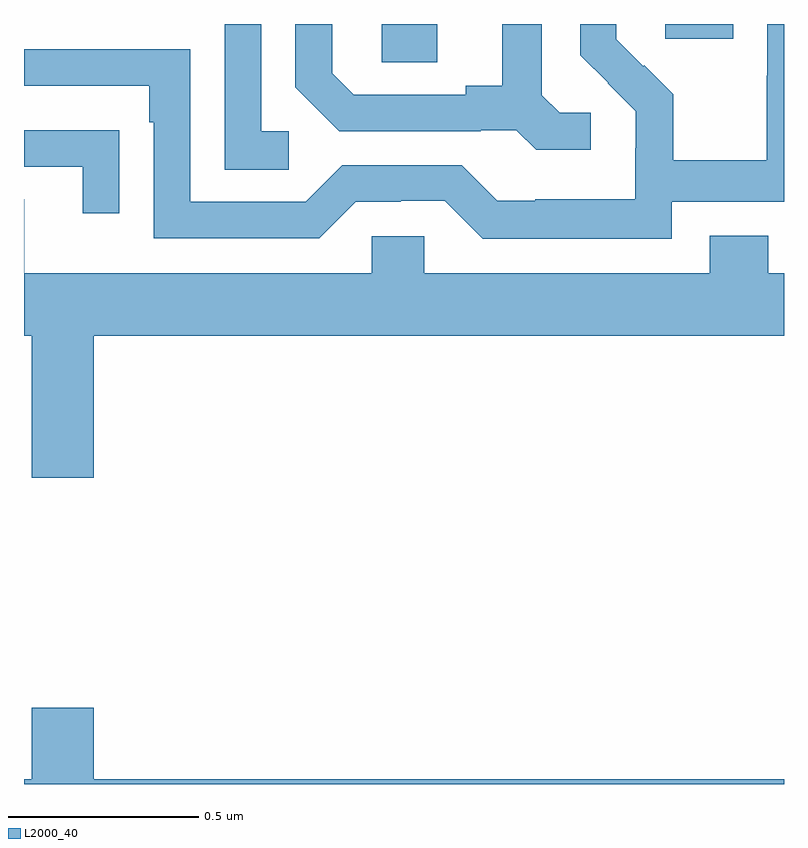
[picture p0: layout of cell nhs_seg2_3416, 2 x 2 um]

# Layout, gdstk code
import gdstk
lib = gdstk.Library(unit=1e-6, precision=1e-09)
def R(c, l, rs):  # rectangles x0, y0, x1, y1
    for r in rs: c.add(gdstk.rectangle(r[:2], r[2:], *l))
def P(c, l, *ps):  # polygons
    for p in ps: c.add(gdstk.Polygon(p, *l))
L2000_40 = (2000, 40)

nhs_seg2_3416 = lib.new_cell('nhs_seg2_3416')
R(nhs_seg2_3416, L2000_40, [(153.942,637.699,154.087,637.8), (154.688,637.761,154.867,637.8)])
P(nhs_seg2_3416, L2000_40, [(154.704,637.332),(155,637.332),(155,637.8),(154.956,637.8),(154.956,637.664),(154.954,637.664),(154.954,637.441),(154.709,637.441),(154.709,637.615),(154.632,637.692),(154.629,637.689),(154.559,637.76),(154.559,637.8),(154.464,637.8),(154.464,637.718),(154.537,637.645),(154.536,637.644),(154.61,637.57),(154.61,637.473),(154.608,637.473),(154.608,637.339),(154.345,637.339),(154.345,637.335),(154.245,637.335),(154.152,637.428),(153.837,637.428),(153.741,637.332),(153.438,637.332),(153.438,637.734),(153,637.734),(153,637.638),(153.329,637.638),(153.329,637.541),(153.342,637.541),(153.342,637.236),(153.777,637.236),(153.873,637.332),(153.992,637.332),(153.992,637.335),(154.107,637.335),(154.207,637.235),(154.704,637.235)],
  [(153.697,637.518),(153.624,637.518),(153.624,637.8),(153.528,637.8),(153.528,637.417),(153.697,637.417)],
  [(154.492,637.566),(154.41,637.566),(154.363,637.613),(154.363,637.8),(154.259,637.8),(154.259,637.637),(154.163,637.637),(154.163,637.614),(153.868,637.614),(153.811,637.671),(153.811,637.8),(153.714,637.8),(153.714,637.634),(153.83,637.518),(154.202,637.518),(154.202,637.521),(154.296,637.521),(154.348,637.469),(154.492,637.469)],
  [(153.251,637.52),(153.149,637.52),(153.149,637.521),(153,637.521),(153,637.425),(153.155,637.425),(153.155,637.302),(153.251,637.302)],
  [(153.184,636.98),(155,636.98),(155,637.144),(154.958,637.144),(154.958,637.243),(154.805,637.243),(154.805,637.144),(154.053,637.144),(154.053,637.242),(153.915,637.242),(153.915,637.144),(153.001,637.144),(153.001,637.339),(153,637.339),(153,636.98),(153.02,636.98),(153.02,636.606),(153.184,636.606)],
  [(155,635.812),(153.184,635.812),(153.184,636.001),(153.02,636.001),(153.02,635.812),(153,635.812),(153,635.8),(155,635.8)])

lib.write_gds('nhs_seg2_3416.gds')
